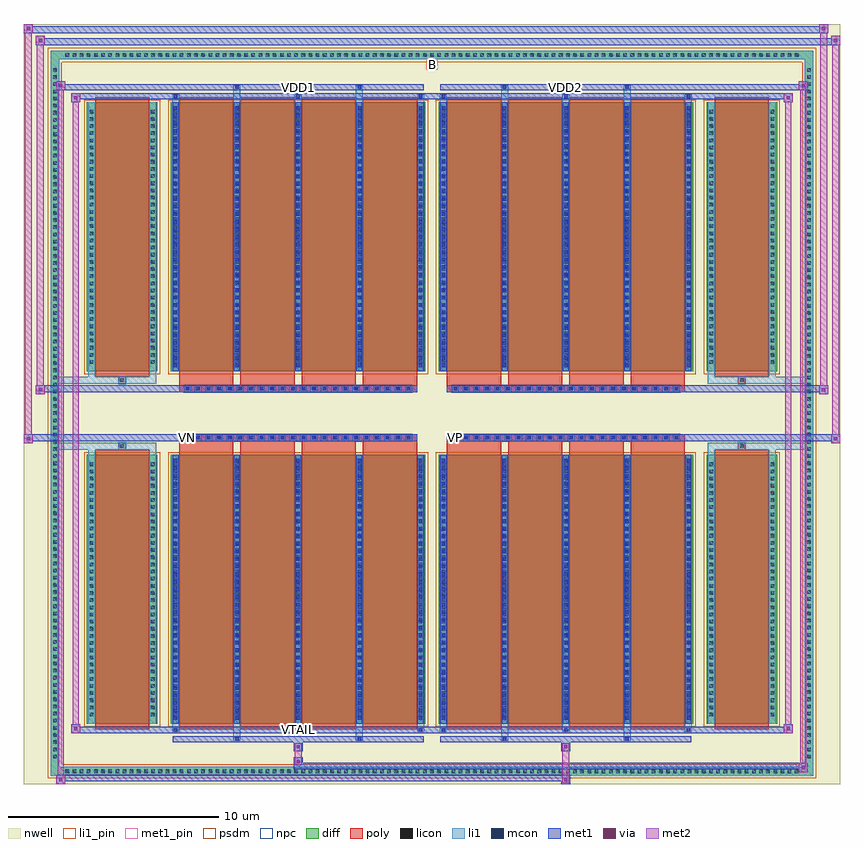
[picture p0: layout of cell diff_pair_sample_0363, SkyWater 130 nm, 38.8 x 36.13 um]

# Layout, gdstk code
import gdstk
lib = gdstk.Library(unit=1e-6, precision=5e-09)
def R(c, l, rs):  # rectangles x0, y0, x1, y1
    for r in rs: c.add(gdstk.rectangle(r[:2], r[2:], *l))
def A(c, l, x, y, w, h, nx, ny, dx, dy):  # array of equal rectangles
    R(c, l, [(x+i*dx, y+j*dy, x+i*dx+w, y+j*dy+h) for i in range(nx) for j in range(ny)])
def P(c, l, *ps):  # polygons
    for p in ps: c.add(gdstk.Polygon(p, *l))
nwell = (64, 20)
diff = (65, 20)
poly = (66, 20)
licon = (66, 44)
li1_pin = (67, 16)
li1 = (67, 20)
mcon = (67, 44)
met1_pin = (68, 16)
met1 = (68, 20)
via = (68, 44)
met2 = (69, 20)
psdm = (94, 20)
npc = (95, 20)

diff_pair_sample_0363 = lib.new_cell('diff_pair_sample_0363')
R(diff_pair_sample_0363, nwell, [(-19.4,-17.63,19.4,18.5), (-16.72,-15.82,-0.01,-0.8), (0.01,-15.82,16.72,-0.8), (-16.72,0.8,-0.01,15.82), (0.01,0.8,16.72,15.82)])
A(diff_pair_sample_0363, diff, -17.545, -17.23, 0.41, 0.41, 103, 2, 0.34, 34.05)
A(diff_pair_sample_0363, diff, -18.13, -16.525, 0.41, 0.41, 1, 97, 0, 0.34)
A(diff_pair_sample_0363, diff, 17.72, -16.525, 0.41, 0.41, 1, 97, 0, 0.34)
R(diff_pair_sample_0363, diff, [(-17.545,-17.23,17.545,-16.82), (-18.13,-16.525,-17.72,16.525), (17.72,-16.525,18.13,16.525), (-16.41,-14.775,-13.05,-1.985), (-12.41,-14.775,-0.32,-1.985), (0.32,-14.775,12.41,-1.985), (13.05,-14.775,16.41,-1.985), (-16.41,1.985,-13.05,14.775), (-12.41,1.985,-0.32,14.775), (0.32,1.985,12.41,14.775), (13.05,1.985,16.41,14.775), (-17.545,16.82,17.545,17.23)])
P(diff_pair_sample_0363, diff, [(18.13,17.23),(-18.13,17.23),(-18.13,-16.82),(-17.72,-16.82),(-17.72,16.82),(17.72,16.82),(17.72,-16.82),(-17.72,-16.82),(-18.13,-16.82),(-18.13,-17.23),(18.13,-17.23)])
A(diff_pair_sample_0363, poly, -12.02, -15.025, 2.58, 13.29, 4, 2, 2.91, 16.76)
A(diff_pair_sample_0363, poly, 0.71, -15.025, 2.58, 13.29, 4, 2, 2.91, 16.76)
A(diff_pair_sample_0363, poly, -12.02, -1.735, 2.58, 0.405, 4, 2, 2.91, 3.065)
A(diff_pair_sample_0363, poly, 0.71, -1.735, 2.58, 0.405, 4, 2, 2.91, 3.065)
A(diff_pair_sample_0363, poly, -11.78, -1.33, 0.33, 0.33, 22, 2, 0.5, 2.33)
A(diff_pair_sample_0363, poly, 0.95, -1.33, 0.33, 0.33, 22, 2, 0.5, 2.33)
R(diff_pair_sample_0363, poly, [(-16.02,-15.025,-13.44,-1.735), (13.44,-15.025,16.02,-1.735), (-14.895,-1.735,-14.565,-1.405), (-14.895,-1.735,-14.565,-1.405), (14.565,-1.735,14.895,-1.405), (14.565,-1.735,14.895,-1.405), (-12.02,-1.33,-0.71,-1), (0.71,-1.33,12.02,-1), (-12.02,1,-0.71,1.33), (0.71,1,12.02,1.33), (-14.895,1.405,-14.565,1.735), (-14.895,1.405,-14.565,1.735), (14.565,1.405,14.895,1.735), (14.565,1.405,14.895,1.735), (-16.02,1.735,-13.44,15.025), (13.44,1.735,16.02,15.025)])
A(diff_pair_sample_0363, licon, -17.425, -17.11, 0.17, 0.17, 103, 2, 0.34, 34.05)
A(diff_pair_sample_0363, licon, -18.01, -16.405, 0.17, 0.17, 1, 97, 0, 0.34)
A(diff_pair_sample_0363, licon, 17.84, -16.405, 0.17, 0.17, 1, 97, 0, 0.34)
A(diff_pair_sample_0363, licon, -16.27, -14.415, 0.17, 0.17, 1, 36, 0, 0.34)
A(diff_pair_sample_0363, licon, -13.36, -14.415, 0.17, 0.17, 1, 36, 0, 0.34)
A(diff_pair_sample_0363, licon, -12.27, -14.415, 0.17, 0.17, 5, 36, 2.91, 0.34)
A(diff_pair_sample_0363, licon, 0.46, -14.415, 0.17, 0.17, 5, 36, 2.91, 0.34)
A(diff_pair_sample_0363, licon, 13.19, -14.415, 0.17, 0.17, 1, 36, 0, 0.34)
A(diff_pair_sample_0363, licon, 16.1, -14.415, 0.17, 0.17, 1, 36, 0, 0.34)
A(diff_pair_sample_0363, licon, -11.7, -1.25, 0.17, 0.17, 22, 2, 0.5, 2.33)
A(diff_pair_sample_0363, licon, 1.03, -1.25, 0.17, 0.17, 22, 2, 0.5, 2.33)
A(diff_pair_sample_0363, licon, -16.27, 2.345, 0.17, 0.17, 1, 36, 0, 0.34)
A(diff_pair_sample_0363, licon, -13.36, 2.345, 0.17, 0.17, 1, 36, 0, 0.34)
A(diff_pair_sample_0363, licon, -12.27, 2.345, 0.17, 0.17, 5, 36, 2.91, 0.34)
A(diff_pair_sample_0363, licon, 0.46, 2.345, 0.17, 0.17, 5, 36, 2.91, 0.34)
A(diff_pair_sample_0363, licon, 13.19, 2.345, 0.17, 0.17, 1, 36, 0, 0.34)
A(diff_pair_sample_0363, licon, 16.1, 2.345, 0.17, 0.17, 1, 36, 0, 0.34)
R(diff_pair_sample_0363, licon, [(-14.815,-1.655,-14.645,-1.485), (14.645,-1.655,14.815,-1.485), (-14.815,1.485,-14.645,1.655), (14.645,1.485,14.815,1.655)])
R(diff_pair_sample_0363, li1_pin, [(-0.25,16.32,0.25,16.82)])
A(diff_pair_sample_0363, li1, -17.505, -17.19, 0.33, 0.33, 103, 2, 0.34, 34.05)
A(diff_pair_sample_0363, li1, -18.09, -16.485, 0.33, 0.33, 1, 97, 0, 0.34)
A(diff_pair_sample_0363, li1, 17.76, -16.485, 0.33, 0.33, 1, 97, 0, 0.34)
A(diff_pair_sample_0363, li1, -12.35, -15.15, 0.33, 0.375, 3, 2, 5.82, 29.925)
A(diff_pair_sample_0363, li1, -12.27, -15.15, 0.17, 0.17, 3, 2, 5.82, 30.13)
A(diff_pair_sample_0363, li1, 0.38, -15.15, 0.33, 0.375, 3, 2, 5.82, 29.925)
A(diff_pair_sample_0363, li1, 0.46, -15.15, 0.17, 0.17, 3, 2, 5.82, 30.13)
A(diff_pair_sample_0363, li1, -12.35, -14.775, 0.33, 12.79, 5, 2, 2.91, 16.76)
A(diff_pair_sample_0363, li1, 0.38, -14.775, 0.33, 12.79, 5, 2, 2.91, 16.76)
A(diff_pair_sample_0363, li1, -12.27, -14.585, 0.17, 0.17, 5, 35, 2.91, 0.36)
A(diff_pair_sample_0363, li1, -12.27, -14.585, 0.17, 12.41, 5, 2, 2.91, 16.76)
A(diff_pair_sample_0363, li1, 0.46, -14.585, 0.17, 0.17, 5, 35, 2.91, 0.36)
A(diff_pair_sample_0363, li1, 0.46, -14.585, 0.17, 12.41, 5, 2, 2.91, 16.76)
A(diff_pair_sample_0363, li1, -16.35, -14.495, 0.33, 0.33, 1, 36, 0, 0.34)
A(diff_pair_sample_0363, li1, -13.44, -14.495, 0.33, 0.33, 1, 36, 0, 0.34)
A(diff_pair_sample_0363, li1, -12.35, -14.495, 0.33, 0.33, 5, 36, 2.91, 0.34)
A(diff_pair_sample_0363, li1, 0.38, -14.495, 0.33, 0.33, 5, 36, 2.91, 0.34)
A(diff_pair_sample_0363, li1, 13.11, -14.495, 0.33, 0.33, 1, 36, 0, 0.34)
A(diff_pair_sample_0363, li1, 16.02, -14.495, 0.33, 0.33, 1, 36, 0, 0.34)
A(diff_pair_sample_0363, li1, -11.78, -1.33, 0.33, 0.33, 22, 2, 0.5, 2.33)
A(diff_pair_sample_0363, li1, 0.95, -1.33, 0.33, 0.33, 22, 2, 0.5, 2.33)
A(diff_pair_sample_0363, li1, -12.27, 2.175, 0.17, 0.17, 5, 35, 2.91, 0.36)
A(diff_pair_sample_0363, li1, 0.46, 2.175, 0.17, 0.17, 5, 35, 2.91, 0.36)
A(diff_pair_sample_0363, li1, -16.35, 2.265, 0.33, 0.33, 1, 36, 0, 0.34)
A(diff_pair_sample_0363, li1, -13.44, 2.265, 0.33, 0.33, 1, 36, 0, 0.34)
A(diff_pair_sample_0363, li1, -12.35, 2.265, 0.33, 0.33, 5, 36, 2.91, 0.34)
A(diff_pair_sample_0363, li1, 0.38, 2.265, 0.33, 0.33, 5, 36, 2.91, 0.34)
A(diff_pair_sample_0363, li1, 13.11, 2.265, 0.33, 0.33, 1, 36, 0, 0.34)
A(diff_pair_sample_0363, li1, 16.02, 2.265, 0.33, 0.33, 1, 36, 0, 0.34)
R(diff_pair_sample_0363, li1, [(-18.13,-17.23,-17.72,-16.82), (-18.13,-17.23,-17.72,-16.82), (-17.72,-17.23,17.72,-16.82), (17.72,-17.23,18.13,-16.82), (17.72,-17.23,18.13,-16.82), (-18.13,-16.82,-17.72,16.82), (17.72,-16.82,18.13,16.82), (-9.44,-15.58,-9.11,-14.775), (-9.36,-15.58,-9.19,-15.41), (-3.62,-15.58,-3.29,-14.775), (-3.54,-15.58,-3.37,-15.41), (3.29,-15.58,3.62,-14.775), (3.37,-15.58,3.54,-15.41), (9.11,-15.58,9.44,-14.775), (9.19,-15.58,9.36,-15.41), (-16.35,-14.775,-16.02,-1.985), (-13.44,-14.775,-13.11,-1.985), (13.11,-14.775,13.44,-1.985), (16.02,-14.775,16.35,-1.985), (-16.35,-1.985,-16.02,-1.405), (-13.44,-1.985,-13.11,-1.405), (13.11,-1.985,13.44,-1.405), (16.02,-1.985,16.35,-1.405), (-18.13,-1.735,-14.895,-1.405), (-16.35,-1.735,-14.895,-1.405), (-14.895,-1.735,-14.565,-1.405), (-14.565,-1.735,-13.11,-1.405), (13.11,-1.735,14.565,-1.405), (14.565,-1.735,14.895,-1.405), (14.565,-1.735,18.13,-1.405), (14.895,-1.735,16.35,-1.405), (-18.13,1.405,-14.895,1.735), (-16.35,1.405,-14.895,1.735), (-16.35,1.405,-16.02,1.985), (-14.895,1.405,-14.565,1.735), (-14.565,1.405,-13.11,1.735), (-13.44,1.405,-13.11,1.985), (13.11,1.405,14.565,1.735), (13.11,1.405,13.44,1.985), (14.565,1.405,14.895,1.735), (14.565,1.405,18.13,1.735), (14.895,1.405,16.35,1.735), (16.02,1.405,16.35,1.985), (-16.35,1.985,-16.02,14.775), (-13.44,1.985,-13.11,14.775), (13.11,1.985,13.44,14.775), (16.02,1.985,16.35,14.775), (-9.44,14.775,-9.11,15.58), (-3.62,14.775,-3.29,15.58), (3.29,14.775,3.62,15.58), (9.11,14.775,9.44,15.58), (-9.36,15.41,-9.19,15.58), (-3.54,15.41,-3.37,15.58), (3.37,15.41,3.54,15.58), (9.19,15.41,9.36,15.58), (-18.13,16.82,-17.72,17.23), (-18.13,16.82,-17.72,17.23), (-17.72,16.82,17.72,17.23), (17.72,16.82,18.13,17.23), (17.72,16.82,18.13,17.23)])
A(diff_pair_sample_0363, mcon, -12.27, -15.15, 0.17, 0.17, 3, 2, 5.82, 30.13)
A(diff_pair_sample_0363, mcon, 0.46, -15.15, 0.17, 0.17, 3, 2, 5.82, 30.13)
A(diff_pair_sample_0363, mcon, -12.27, -14.585, 0.17, 0.17, 5, 35, 2.91, 0.36)
A(diff_pair_sample_0363, mcon, 0.46, -14.585, 0.17, 0.17, 5, 35, 2.91, 0.36)
A(diff_pair_sample_0363, mcon, -11.7, -1.25, 0.17, 0.17, 22, 2, 0.5, 2.33)
A(diff_pair_sample_0363, mcon, 1.03, -1.25, 0.17, 0.17, 22, 2, 0.5, 2.33)
A(diff_pair_sample_0363, mcon, -12.27, 2.175, 0.17, 0.17, 5, 35, 2.91, 0.36)
A(diff_pair_sample_0363, mcon, 0.46, 2.175, 0.17, 0.17, 5, 35, 2.91, 0.36)
R(diff_pair_sample_0363, mcon, [(-9.36,-15.58,-9.19,-15.41), (-3.54,-15.58,-3.37,-15.41), (3.37,-15.58,3.54,-15.41), (9.19,-15.58,9.36,-15.41), (-9.36,15.41,-9.19,15.58), (-3.54,15.41,-3.37,15.58), (3.37,15.41,3.54,15.58), (9.19,15.41,9.36,15.58)])
R(diff_pair_sample_0363, met1_pin, [(-6.5,-15.19,-6.23,-14.92), (-11.75,-1.29,-11.48,-1.02), (0.98,-1.29,1.25,-1.02), (-6.5,15.37,-6.23,15.64), (6.23,15.37,6.5,15.64)])
A(diff_pair_sample_0363, met1, -12.33, -15.21, 0.29, 0.29, 3, 2, 5.82, 30.13)
A(diff_pair_sample_0363, met1, 0.4, -15.21, 0.29, 0.29, 3, 2, 5.82, 30.13)
A(diff_pair_sample_0363, met1, -12.33, -14.775, 0.29, 12.79, 5, 2, 2.91, 16.76)
A(diff_pair_sample_0363, met1, 0.4, -14.775, 0.29, 12.79, 5, 2, 2.91, 16.76)
A(diff_pair_sample_0363, met1, -12.33, -14.645, 0.29, 0.29, 5, 35, 2.91, 0.36)
A(diff_pair_sample_0363, met1, 0.4, -14.645, 0.29, 0.29, 5, 35, 2.91, 0.36)
A(diff_pair_sample_0363, met1, -11.76, -1.31, 0.29, 0.29, 22, 2, 0.5, 2.33)
A(diff_pair_sample_0363, met1, 0.97, -1.31, 0.29, 0.29, 22, 2, 0.5, 2.33)
A(diff_pair_sample_0363, met1, -12.33, 2.115, 0.29, 0.29, 5, 35, 2.91, 0.36)
A(diff_pair_sample_0363, met1, 0.4, 2.115, 0.29, 0.29, 5, 35, 2.91, 0.36)
R(diff_pair_sample_0363, met1, [(-17.86,-17.63,-17.43,-17.2), (6.15,-17.63,6.58,-17.2), (-17.86,-17.49,6.58,-17.2), (17.43,-17.06,17.86,-16.63), (-6.58,-16.92,17.86,-16.63), (-6.58,-16.78,-6.15,-16.35), (-6.58,-16.07,-6.15,-15.64), (6.15,-16.07,6.58,-15.64), (-12.33,-15.64,-0.4,-15.35), (-9.42,-15.64,-9.13,-15.35), (-3.6,-15.64,-3.31,-15.35), (0.4,-15.64,12.33,-15.35), (3.31,-15.64,3.6,-15.35), (9.13,-15.64,9.42,-15.35), (-17.15,-15.21,-16.72,-14.78), (-17.15,-15.21,-12.33,-14.92), (-12.33,-15.21,-0.4,-14.92), (-0.4,-15.21,0.4,-14.92), (0.4,-15.21,12.33,-14.92), (12.33,-15.21,17.15,-14.92), (16.72,-15.21,17.15,-14.78), (-19.4,-1.43,-18.97,-1), (18.97,-1.43,19.4,-1), (-19.4,-1.33,-0.71,-1), (-12.02,-1.33,-0.71,-1), (0.71,-1.33,12.02,-1), (0.71,-1.33,19.4,-1), (-18.83,0.9,-18.4,1.33), (18.4,0.9,18.83,1.33), (-18.83,1,-12.02,1.33), (-12.02,1,-0.71,1.33), (0.71,1,12.02,1.33), (12.02,1,18.83,1.33), (-17.15,14.78,-16.72,15.21), (16.72,14.78,17.15,15.21), (-17.15,14.92,-12.33,15.21), (-12.33,14.92,-0.4,15.21), (-0.4,14.92,0.4,15.21), (0.4,14.92,12.33,15.21), (12.33,14.92,17.15,15.21), (-17.86,15.35,-17.43,15.78), (-17.86,15.35,-12.33,15.64), (-12.33,15.35,-0.4,15.64), (-9.42,15.35,-9.13,15.64), (-3.6,15.35,-3.31,15.64), (0.4,15.35,12.33,15.64), (3.31,15.35,3.6,15.64), (9.13,15.35,9.42,15.64), (12.33,15.35,17.86,15.64), (17.43,15.35,17.86,15.78), (-18.83,17.5,-18.4,17.93), (-18.83,17.5,-16.72,17.83), (-16.72,17.5,16.72,17.83), (16.72,17.5,19.4,17.83), (18.97,17.5,19.4,17.93), (-19.4,18.07,-18.97,18.5), (-19.4,18.07,-16.72,18.4), (-16.72,18.07,16.72,18.4), (16.72,18.07,18.83,18.4), (18.4,18.07,18.83,18.5)])
R(diff_pair_sample_0363, via, [(-17.72,-17.49,-17.57,-17.34), (6.29,-17.49,6.44,-17.34), (17.57,-16.92,17.72,-16.77), (-6.44,-16.64,-6.29,-16.49), (-6.44,-15.93,-6.29,-15.78), (6.29,-15.93,6.44,-15.78), (-17.01,-15.07,-16.86,-14.92), (16.86,-15.07,17.01,-14.92), (-19.26,-1.29,-19.11,-1.14), (19.11,-1.29,19.26,-1.14), (-18.69,1.04,-18.54,1.19), (18.54,1.04,18.69,1.19), (-17.01,14.92,-16.86,15.07), (16.86,14.92,17.01,15.07), (-17.72,15.49,-17.57,15.64), (17.57,15.49,17.72,15.64), (-18.69,17.64,-18.54,17.79), (19.11,17.64,19.26,17.79), (-19.26,18.21,-19.11,18.36), (18.54,18.21,18.69,18.36)])
R(diff_pair_sample_0363, met2, [(-17.86,-17.63,-17.43,-17.2), (-17.79,-17.63,-17.5,15.78), (-17.5,-17.63,-17.43,-17.2), (-17.81,-17.58,-17.48,-17.25), (6.2,-17.58,6.53,-17.25), (6.2,-17.25,6.53,-16.02), (17.43,-17.06,17.86,-16.63), (17.5,-17.06,17.79,15.78), (17.79,-17.06,17.86,-16.63), (17.48,-17.01,17.81,-16.68), (-6.53,-16.73,-6.2,-16.4), (-6.53,-16.4,-6.2,-16.02), (-6.53,-16.02,-6.2,-15.69), (6.2,-16.02,6.53,-15.69), (-17.15,-15.21,-16.72,-14.78), (-17.08,-15.21,-16.79,15.21), (-16.79,-15.21,-16.72,-14.78), (16.72,-15.21,17.15,-14.78), (16.79,-15.21,17.08,15.21), (17.08,-15.21,17.15,-14.78), (-17.1,-15.16,-16.77,-14.83), (16.77,-15.16,17.1,-14.83), (-19.4,-1.43,-18.97,-1), (-19.35,-1.43,-19.02,18.5), (-19.02,-1.43,-18.97,-1), (18.97,-1.43,19.4,-1), (19.02,-1.43,19.35,17.93), (19.35,-1.43,19.4,-1), (-19.35,-1.38,-19.02,-1.05), (19.02,-1.38,19.35,-1.05), (-18.83,0.9,-18.4,1.33), (-18.78,0.9,-18.45,17.93), (-18.45,0.9,-18.4,1.33), (18.4,0.9,18.83,1.33), (18.45,0.9,18.78,18.5), (18.78,0.9,18.83,1.33), (-18.78,0.95,-18.45,1.28), (18.45,0.95,18.78,1.28), (-17.15,14.78,-16.72,15.21), (-16.79,14.78,-16.72,15.21), (16.72,14.78,17.15,15.21), (17.08,14.78,17.15,15.21), (-17.1,14.83,-16.77,15.16), (16.77,14.83,17.1,15.16), (-17.86,15.35,-17.43,15.78), (-17.5,15.35,-17.43,15.78), (17.43,15.35,17.86,15.78), (17.79,15.35,17.86,15.78), (-17.81,15.4,-17.48,15.73), (17.48,15.4,17.81,15.73), (-18.83,17.5,-18.4,17.93), (-18.45,17.5,-18.4,17.93), (18.97,17.5,19.4,17.93), (19.35,17.5,19.4,17.93), (-18.78,17.55,-18.45,17.88), (19.02,17.55,19.35,17.88), (-19.4,18.07,-18.97,18.5), (-19.02,18.07,-18.97,18.5), (18.4,18.07,18.83,18.5), (18.78,18.07,18.83,18.5), (-19.35,18.12,-19.02,18.45), (18.45,18.12,18.78,18.45)])
R(diff_pair_sample_0363, psdm, [(-16.54,-14.905,-12.92,-1.855), (-12.54,-14.905,-0.19,-1.855), (0.19,-14.905,12.54,-1.855), (12.92,-14.905,16.54,-1.855), (-16.54,1.855,-12.92,14.905), (-12.54,1.855,-0.19,14.905), (0.19,1.855,12.54,14.905), (12.92,1.855,16.54,14.905)])
P(diff_pair_sample_0363, psdm, [(18.26,17.36),(-18.26,17.36),(-18.26,-16.69),(-17.59,-16.69),(-17.59,16.69),(17.59,16.69),(17.59,-16.69),(-17.59,-16.69),(-18.26,-16.69),(-18.26,-17.36),(18.26,-17.36)])
A(diff_pair_sample_0363, npc, -11.8, -1.35, 0.37, 0.37, 22, 2, 0.5, 2.33)
A(diff_pair_sample_0363, npc, 0.93, -1.35, 0.37, 0.37, 22, 2, 0.5, 2.33)
R(diff_pair_sample_0363, npc, [(-14.915,-1.755,-14.545,-1.385), (14.545,-1.755,14.915,-1.385), (-11.8,-1.35,-10.93,-0.98), (-11.8,-1.35,-10.93,-0.98), (-11.3,-1.35,-10.43,-0.98), (-11.3,-1.35,-10.43,-0.98), (-10.8,-1.35,-9.93,-0.98), (-10.8,-1.35,-9.93,-0.98), (-10.3,-1.35,-9.43,-0.98), (-10.3,-1.35,-9.43,-0.98), (-9.8,-1.35,-8.93,-0.98), (-9.8,-1.35,-8.93,-0.98), (-9.3,-1.35,-8.43,-0.98), (-9.3,-1.35,-8.43,-0.98), (-8.8,-1.35,-7.93,-0.98), (-8.8,-1.35,-7.93,-0.98), (-8.3,-1.35,-7.43,-0.98), (-8.3,-1.35,-7.43,-0.98), (-7.8,-1.35,-6.93,-0.98), (-7.8,-1.35,-6.93,-0.98), (-7.3,-1.35,-6.43,-0.98), (-7.3,-1.35,-6.43,-0.98), (-6.8,-1.35,-5.93,-0.98), (-6.8,-1.35,-5.93,-0.98), (-6.3,-1.35,-5.43,-0.98), (-6.3,-1.35,-5.43,-0.98), (-5.8,-1.35,-4.93,-0.98), (-5.8,-1.35,-4.93,-0.98), (-5.3,-1.35,-4.43,-0.98), (-5.3,-1.35,-4.43,-0.98), (-4.8,-1.35,-3.93,-0.98), (-4.8,-1.35,-3.93,-0.98), (-4.3,-1.35,-3.43,-0.98), (-4.3,-1.35,-3.43,-0.98), (-3.8,-1.35,-2.93,-0.98), (-3.8,-1.35,-2.93,-0.98), (-3.3,-1.35,-2.43,-0.98), (-3.3,-1.35,-2.43,-0.98), (-2.8,-1.35,-1.93,-0.98), (-2.8,-1.35,-1.93,-0.98), (-2.3,-1.35,-1.43,-0.98), (-2.3,-1.35,-1.43,-0.98), (-1.8,-1.35,-0.93,-0.98), (-1.8,-1.35,-0.93,-0.98), (0.93,-1.35,1.8,-0.98), (0.93,-1.35,1.8,-0.98), (1.43,-1.35,2.3,-0.98), (1.43,-1.35,2.3,-0.98), (1.93,-1.35,2.8,-0.98), (1.93,-1.35,2.8,-0.98), (2.43,-1.35,3.3,-0.98), (2.43,-1.35,3.3,-0.98), (2.93,-1.35,3.8,-0.98), (2.93,-1.35,3.8,-0.98), (3.43,-1.35,4.3,-0.98), (3.43,-1.35,4.3,-0.98), (3.93,-1.35,4.8,-0.98), (3.93,-1.35,4.8,-0.98), (4.43,-1.35,5.3,-0.98), (4.43,-1.35,5.3,-0.98), (4.93,-1.35,5.8,-0.98), (4.93,-1.35,5.8,-0.98), (5.43,-1.35,6.3,-0.98), (5.43,-1.35,6.3,-0.98), (5.93,-1.35,6.8,-0.98), (5.93,-1.35,6.8,-0.98), (6.43,-1.35,7.3,-0.98), (6.43,-1.35,7.3,-0.98), (6.93,-1.35,7.8,-0.98), (6.93,-1.35,7.8,-0.98), (7.43,-1.35,8.3,-0.98), (7.43,-1.35,8.3,-0.98), (7.93,-1.35,8.8,-0.98), (7.93,-1.35,8.8,-0.98), (8.43,-1.35,9.3,-0.98), (8.43,-1.35,9.3,-0.98), (8.93,-1.35,9.8,-0.98), (8.93,-1.35,9.8,-0.98), (9.43,-1.35,10.3,-0.98), (9.43,-1.35,10.3,-0.98), (9.93,-1.35,10.8,-0.98), (9.93,-1.35,10.8,-0.98), (10.43,-1.35,11.3,-0.98), (10.43,-1.35,11.3,-0.98), (10.93,-1.35,11.8,-0.98), (10.93,-1.35,11.8,-0.98), (-11.8,0.98,-10.93,1.35), (-11.8,0.98,-10.93,1.35), (-11.3,0.98,-10.43,1.35), (-11.3,0.98,-10.43,1.35), (-10.8,0.98,-9.93,1.35), (-10.8,0.98,-9.93,1.35), (-10.3,0.98,-9.43,1.35), (-10.3,0.98,-9.43,1.35), (-9.8,0.98,-8.93,1.35), (-9.8,0.98,-8.93,1.35), (-9.3,0.98,-8.43,1.35), (-9.3,0.98,-8.43,1.35), (-8.8,0.98,-7.93,1.35), (-8.8,0.98,-7.93,1.35), (-8.3,0.98,-7.43,1.35), (-8.3,0.98,-7.43,1.35), (-7.8,0.98,-6.93,1.35), (-7.8,0.98,-6.93,1.35), (-7.3,0.98,-6.43,1.35), (-7.3,0.98,-6.43,1.35), (-6.8,0.98,-5.93,1.35), (-6.8,0.98,-5.93,1.35), (-6.3,0.98,-5.43,1.35), (-6.3,0.98,-5.43,1.35), (-5.8,0.98,-4.93,1.35), (-5.8,0.98,-4.93,1.35), (-5.3,0.98,-4.43,1.35), (-5.3,0.98,-4.43,1.35), (-4.8,0.98,-3.93,1.35), (-4.8,0.98,-3.93,1.35), (-4.3,0.98,-3.43,1.35), (-4.3,0.98,-3.43,1.35), (-3.8,0.98,-2.93,1.35), (-3.8,0.98,-2.93,1.35), (-3.3,0.98,-2.43,1.35), (-3.3,0.98,-2.43,1.35), (-2.8,0.98,-1.93,1.35), (-2.8,0.98,-1.93,1.35), (-2.3,0.98,-1.43,1.35), (-2.3,0.98,-1.43,1.35), (-1.8,0.98,-0.93,1.35), (-1.8,0.98,-0.93,1.35), (0.93,0.98,1.8,1.35), (0.93,0.98,1.8,1.35), (1.43,0.98,2.3,1.35), (1.43,0.98,2.3,1.35), (1.93,0.98,2.8,1.35), (1.93,0.98,2.8,1.35), (2.43,0.98,3.3,1.35), (2.43,0.98,3.3,1.35), (2.93,0.98,3.8,1.35), (2.93,0.98,3.8,1.35), (3.43,0.98,4.3,1.35), (3.43,0.98,4.3,1.35), (3.93,0.98,4.8,1.35), (3.93,0.98,4.8,1.35), (4.43,0.98,5.3,1.35), (4.43,0.98,5.3,1.35), (4.93,0.98,5.8,1.35), (4.93,0.98,5.8,1.35), (5.43,0.98,6.3,1.35), (5.43,0.98,6.3,1.35), (5.93,0.98,6.8,1.35), (5.93,0.98,6.8,1.35), (6.43,0.98,7.3,1.35), (6.43,0.98,7.3,1.35), (6.93,0.98,7.8,1.35), (6.93,0.98,7.8,1.35), (7.43,0.98,8.3,1.35), (7.43,0.98,8.3,1.35), (7.93,0.98,8.8,1.35), (7.93,0.98,8.8,1.35), (8.43,0.98,9.3,1.35), (8.43,0.98,9.3,1.35), (8.93,0.98,9.8,1.35), (8.93,0.98,9.8,1.35), (9.43,0.98,10.3,1.35), (9.43,0.98,10.3,1.35), (9.93,0.98,10.8,1.35), (9.93,0.98,10.8,1.35), (10.43,0.98,11.3,1.35), (10.43,0.98,11.3,1.35), (10.93,0.98,11.8,1.35), (10.93,0.98,11.8,1.35), (-14.915,1.385,-14.545,1.755), (14.545,1.385,14.915,1.755)])
diff_pair_sample_0363.add(gdstk.Label('VTAIL', (-6.365,-15.055), layer=68, texttype=5))
diff_pair_sample_0363.add(gdstk.Label('VN', (-11.615,-1.155), layer=68, texttype=5))
diff_pair_sample_0363.add(gdstk.Label('VP', (1.115,-1.155), layer=68, texttype=5))
diff_pair_sample_0363.add(gdstk.Label('B', (0,16.57), layer=67, texttype=5))
diff_pair_sample_0363.add(gdstk.Label('VDD2', (6.365,15.505), layer=68, texttype=5))
diff_pair_sample_0363.add(gdstk.Label('VDD1', (-6.365,15.505), layer=68, texttype=5))

lib.write_gds('diff_pair_sample_0363.gds')
